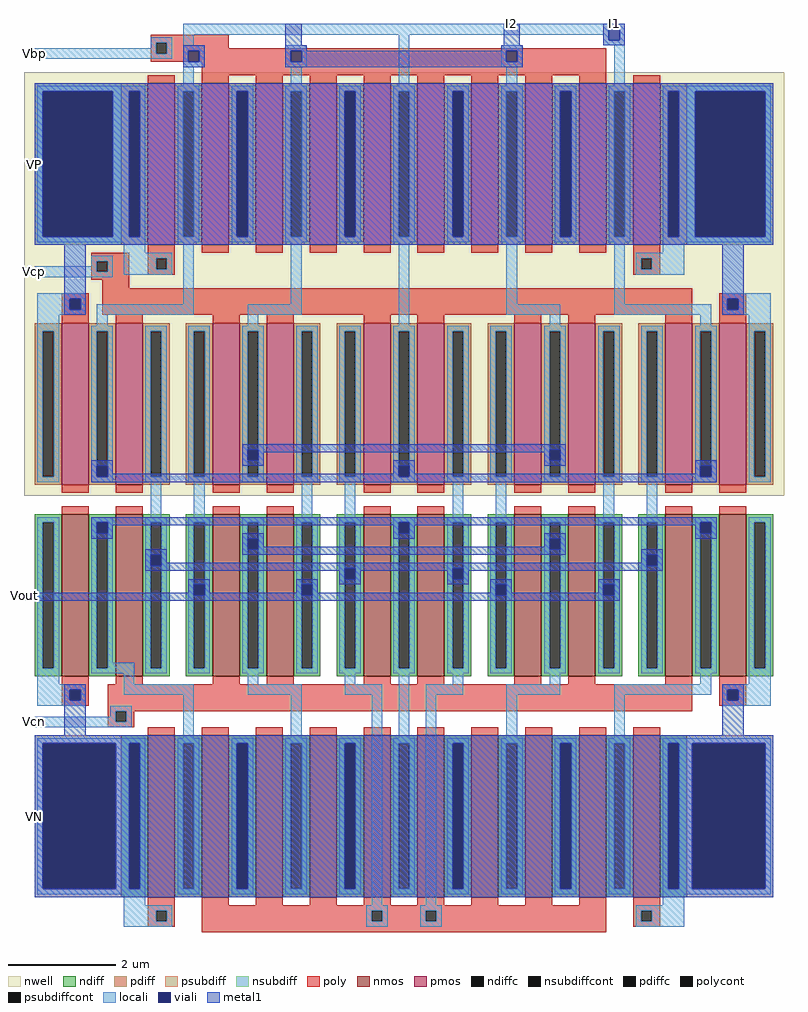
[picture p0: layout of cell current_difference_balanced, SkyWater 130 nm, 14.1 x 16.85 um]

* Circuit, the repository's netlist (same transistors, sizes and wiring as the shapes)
* SPICE3 file created from current_difference_balanced.ext - technology: sky130A

**.subckt current_difference_balanced I1 I2 Vout Vcn Vcp Vbp VP VN
X0 I1 Vcp a_300_80# VP sky130_fd_pr__pfet_01v8 ad=0.75 pd=3.5 as=1.5 ps=7 w=3 l=0.5
X1 I2 Vcp Vout VP sky130_fd_pr__pfet_01v8 ad=0.75 pd=3.5 as=1.5 ps=7 w=3 l=0.5
X2 I1 Vcp a_300_80# VP sky130_fd_pr__pfet_01v8 ad=0.75 pd=3.5 as=1.5 ps=7 w=3 l=0.5
X3 a_300_80# Vcn a_100_80# VN sky130_fd_pr__nfet_01v8 ad=1.5 pd=7 as=0.75 ps=3.5 w=3 l=0.5
X4 Vout Vcp I2 VP sky130_fd_pr__pfet_01v8 ad=1.5 pd=7 as=0.75 ps=3.5 w=3 l=0.5
X5 a_300_80# Vcp I1 VP sky130_fd_pr__pfet_01v8 ad=1.5 pd=7 as=0.75 ps=3.5 w=3 l=0.5
X6 VP Vbp I1 VP sky130_fd_pr__pfet_01v8 ad=0.75 pd=3.5 as=0.75 ps=3.5 w=3 l=0.5
X7 VP Vbp I2 VP sky130_fd_pr__pfet_01v8 ad=0.75 pd=3.5 as=0.75 ps=3.5 w=3 l=0.5
X8 VP Vbp I1 VP sky130_fd_pr__pfet_01v8 ad=0.75 pd=3.5 as=0.75 ps=3.5 w=3 l=0.5
X9 VN VN a_100_80# VN sky130_fd_pr__nfet_01v8 ad=1.5 pd=7 as=0.75 ps=3.5 w=3 l=0.5
X10 VP Vbp I2 VP sky130_fd_pr__pfet_01v8 ad=0.75 pd=3.5 as=0.75 ps=3.5 w=3 l=0.5
X11 a_660_80# Vcn Vout VN sky130_fd_pr__nfet_01v8 ad=0.75 pd=3.5 as=1.5 ps=7 w=3 l=0.5
X12 a_100_80# Vcn a_300_80# VN sky130_fd_pr__nfet_01v8 ad=0.75 pd=3.5 as=1.5 ps=7 w=3 l=0.5
X13 a_100_80# VN VN VN sky130_fd_pr__nfet_01v8 ad=0.75 pd=3.5 as=1.5 ps=7 w=3 l=0.5
X14 I1 VP VP VP sky130_fd_pr__pfet_01v8 ad=0.75 pd=3.5 as=1.5 ps=7 w=3 l=0.5
X15 VP VP I1 VP sky130_fd_pr__pfet_01v8 ad=1.5 pd=7 as=0.75 ps=3.5 w=3 l=0.5
X16 a_660_80# a_300_80# VN VN sky130_fd_pr__nfet_01v8 ad=0.75 pd=3.5 as=0.75 ps=3.5 w=3 l=0.5
X17 a_100_80# a_300_80# VN VN sky130_fd_pr__nfet_01v8 ad=0.75 pd=3.5 as=0.75 ps=3.5 w=3 l=0.5
X18 Vout Vcp I2 VP sky130_fd_pr__pfet_01v8 ad=1.5 pd=7 as=0.75 ps=3.5 w=3 l=0.5
X19 Vout Vcn a_660_80# VN sky130_fd_pr__nfet_01v8 ad=1.5 pd=7 as=0.75 ps=3.5 w=3 l=0.5
X20 a_660_80# a_300_80# VN VN sky130_fd_pr__nfet_01v8 ad=0.75 pd=3.5 as=0.75 ps=3.5 w=3 l=0.5
X21 a_300_80# Vcp I1 VP sky130_fd_pr__pfet_01v8 ad=1.5 pd=7 as=0.75 ps=3.5 w=3 l=0.5
X22 a_100_80# a_300_80# VN VN sky130_fd_pr__nfet_01v8 ad=0.75 pd=3.5 as=0.75 ps=3.5 w=3 l=0.5
X23 a_100_80# Vcn a_300_80# VN sky130_fd_pr__nfet_01v8 ad=0.75 pd=3.5 as=1.5 ps=7 w=3 l=0.5
X24 a_300_80# Vcn a_100_80# VN sky130_fd_pr__nfet_01v8 ad=1.5 pd=7 as=0.75 ps=3.5 w=3 l=0.5
X25 VP VP I1 VP sky130_fd_pr__pfet_01v8 ad=1.5 pd=7 as=0.75 ps=3.5 w=3 l=0.5
X26 I2 Vcp Vout VP sky130_fd_pr__pfet_01v8 ad=0.75 pd=3.5 as=1.5 ps=7 w=3 l=0.5
X27 I1 VP VP VP sky130_fd_pr__pfet_01v8 ad=0.75 pd=3.5 as=1.5 ps=7 w=3 l=0.5
X28 I2 Vbp VP VP sky130_fd_pr__pfet_01v8 ad=0.75 pd=3.5 as=0.75 ps=3.5 w=3 l=0.5
X29 I1 Vbp VP VP sky130_fd_pr__pfet_01v8 ad=0.75 pd=3.5 as=0.75 ps=3.5 w=3 l=0.5
X30 I2 Vbp VP VP sky130_fd_pr__pfet_01v8 ad=0.75 pd=3.5 as=0.75 ps=3.5 w=3 l=0.5
X31 I1 Vbp VP VP sky130_fd_pr__pfet_01v8 ad=0.75 pd=3.5 as=0.75 ps=3.5 w=3 l=0.5
X32 a_100_80# VN VN VN sky130_fd_pr__nfet_01v8 ad=0.75 pd=3.5 as=1.5 ps=7 w=3 l=0.5
X33 Vout Vcn a_660_80# VN sky130_fd_pr__nfet_01v8 ad=1.5 pd=7 as=0.75 ps=3.5 w=3 l=0.5
X34 VN VN a_100_80# VN sky130_fd_pr__nfet_01v8 ad=1.5 pd=7 as=0.75 ps=3.5 w=3 l=0.5
X35 VN a_300_80# a_100_80# VN sky130_fd_pr__nfet_01v8 ad=0.75 pd=3.5 as=0.75 ps=3.5 w=3 l=0.5
X36 a_660_80# Vcn Vout VN sky130_fd_pr__nfet_01v8 ad=0.75 pd=3.5 as=1.5 ps=7 w=3 l=0.5
X37 VN a_300_80# a_660_80# VN sky130_fd_pr__nfet_01v8 ad=0.75 pd=3.5 as=0.75 ps=3.5 w=3 l=0.5
X38 VN a_300_80# a_100_80# VN sky130_fd_pr__nfet_01v8 ad=0.75 pd=3.5 as=0.75 ps=3.5 w=3 l=0.5
X39 VN a_300_80# a_660_80# VN sky130_fd_pr__nfet_01v8 ad=0.75 pd=3.5 as=0.75 ps=3.5 w=3 l=0.5
**.ends

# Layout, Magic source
magic
tech sky130A
<< nwell >>
rect -70 375 1340 1160
<< nmos >>
rect 0 40 50 340
rect 100 40 150 340
rect 280 40 330 340
rect 380 40 430 340
rect 560 40 610 340
rect 660 40 710 340
rect 840 40 890 340
rect 940 40 990 340
rect 1120 40 1170 340
rect 1220 40 1270 340
rect 160 -370 210 -70
rect 260 -370 310 -70
rect 360 -370 410 -70
rect 460 -370 510 -70
rect 560 -370 610 -70
rect 660 -370 710 -70
rect 760 -370 810 -70
rect 860 -370 910 -70
rect 960 -370 1010 -70
rect 1060 -370 1110 -70
<< pmos >>
rect 160 840 210 1140
rect 260 840 310 1140
rect 360 840 410 1140
rect 460 840 510 1140
rect 560 840 610 1140
rect 660 840 710 1140
rect 760 840 810 1140
rect 860 840 910 1140
rect 960 840 1010 1140
rect 1060 840 1110 1140
rect 0 395 50 695
rect 100 395 150 695
rect 280 395 330 695
rect 380 395 430 695
rect 560 395 610 695
rect 660 395 710 695
rect 840 395 890 695
rect 940 395 990 695
rect 1120 395 1170 695
rect 1220 395 1270 695
<< ndiff >>
rect -50 325 0 340
rect -50 55 -35 325
rect -15 55 0 325
rect -50 40 0 55
rect 50 325 100 340
rect 50 55 65 325
rect 85 55 100 325
rect 50 40 100 55
rect 150 325 200 340
rect 150 55 165 325
rect 185 55 200 325
rect 150 40 200 55
rect 230 325 280 340
rect 230 55 245 325
rect 265 55 280 325
rect 230 40 280 55
rect 330 325 380 340
rect 330 55 345 325
rect 365 55 380 325
rect 330 40 380 55
rect 430 325 480 340
rect 430 55 445 325
rect 465 55 480 325
rect 430 40 480 55
rect 510 325 560 340
rect 510 55 525 325
rect 545 55 560 325
rect 510 40 560 55
rect 610 325 660 340
rect 610 55 625 325
rect 645 55 660 325
rect 610 40 660 55
rect 710 325 760 340
rect 710 55 725 325
rect 745 55 760 325
rect 710 40 760 55
rect 790 325 840 340
rect 790 55 805 325
rect 825 55 840 325
rect 790 40 840 55
rect 890 325 940 340
rect 890 55 905 325
rect 925 55 940 325
rect 890 40 940 55
rect 990 325 1040 340
rect 990 55 1005 325
rect 1025 55 1040 325
rect 990 40 1040 55
rect 1070 325 1120 340
rect 1070 55 1085 325
rect 1105 55 1120 325
rect 1070 40 1120 55
rect 1170 325 1220 340
rect 1170 55 1185 325
rect 1205 55 1220 325
rect 1170 40 1220 55
rect 1270 325 1320 340
rect 1270 55 1285 325
rect 1305 55 1320 325
rect 1270 40 1320 55
rect 110 -85 160 -70
rect 110 -355 125 -85
rect 145 -355 160 -85
rect 110 -370 160 -355
rect 210 -85 260 -70
rect 210 -355 225 -85
rect 245 -355 260 -85
rect 210 -370 260 -355
rect 310 -85 360 -70
rect 310 -355 325 -85
rect 345 -355 360 -85
rect 310 -370 360 -355
rect 410 -85 460 -70
rect 410 -355 425 -85
rect 445 -355 460 -85
rect 410 -370 460 -355
rect 510 -85 560 -70
rect 510 -355 525 -85
rect 545 -355 560 -85
rect 510 -370 560 -355
rect 610 -85 660 -70
rect 610 -355 625 -85
rect 645 -355 660 -85
rect 610 -370 660 -355
rect 710 -85 760 -70
rect 710 -355 725 -85
rect 745 -355 760 -85
rect 710 -370 760 -355
rect 810 -85 860 -70
rect 810 -355 825 -85
rect 845 -355 860 -85
rect 810 -370 860 -355
rect 910 -85 960 -70
rect 910 -355 925 -85
rect 945 -355 960 -85
rect 910 -370 960 -355
rect 1010 -85 1060 -70
rect 1010 -355 1025 -85
rect 1045 -355 1060 -85
rect 1010 -370 1060 -355
rect 1110 -85 1160 -70
rect 1110 -355 1125 -85
rect 1145 -355 1160 -85
rect 1110 -370 1160 -355
<< pdiff >>
rect 110 1125 160 1140
rect 110 855 125 1125
rect 145 855 160 1125
rect 110 840 160 855
rect 210 1125 260 1140
rect 210 855 225 1125
rect 245 855 260 1125
rect 210 840 260 855
rect 310 1125 360 1140
rect 310 855 325 1125
rect 345 855 360 1125
rect 310 840 360 855
rect 410 1125 460 1140
rect 410 855 425 1125
rect 445 855 460 1125
rect 410 840 460 855
rect 510 1125 560 1140
rect 510 855 525 1125
rect 545 855 560 1125
rect 510 840 560 855
rect 610 1125 660 1140
rect 610 855 625 1125
rect 645 855 660 1125
rect 610 840 660 855
rect 710 1125 760 1140
rect 710 855 725 1125
rect 745 855 760 1125
rect 710 840 760 855
rect 810 1125 860 1140
rect 810 855 825 1125
rect 845 855 860 1125
rect 810 840 860 855
rect 910 1125 960 1140
rect 910 855 925 1125
rect 945 855 960 1125
rect 910 840 960 855
rect 1010 1125 1060 1140
rect 1010 855 1025 1125
rect 1045 855 1060 1125
rect 1010 840 1060 855
rect 1110 1125 1160 1140
rect 1110 855 1125 1125
rect 1145 855 1160 1125
rect 1110 840 1160 855
rect -50 680 0 695
rect -50 410 -35 680
rect -15 410 0 680
rect -50 395 0 410
rect 50 680 100 695
rect 50 410 65 680
rect 85 410 100 680
rect 50 395 100 410
rect 150 680 200 695
rect 150 410 165 680
rect 185 410 200 680
rect 150 395 200 410
rect 230 680 280 695
rect 230 410 245 680
rect 265 410 280 680
rect 230 395 280 410
rect 330 680 380 695
rect 330 410 345 680
rect 365 410 380 680
rect 330 395 380 410
rect 430 680 480 695
rect 430 410 445 680
rect 465 410 480 680
rect 430 395 480 410
rect 510 680 560 695
rect 510 410 525 680
rect 545 410 560 680
rect 510 395 560 410
rect 610 680 660 695
rect 610 410 625 680
rect 645 410 660 680
rect 610 395 660 410
rect 710 680 760 695
rect 710 410 725 680
rect 745 410 760 680
rect 710 395 760 410
rect 790 680 840 695
rect 790 410 805 680
rect 825 410 840 680
rect 790 395 840 410
rect 890 680 940 695
rect 890 410 905 680
rect 925 410 940 680
rect 890 395 940 410
rect 990 680 1040 695
rect 990 410 1005 680
rect 1025 410 1040 680
rect 990 395 1040 410
rect 1070 680 1120 695
rect 1070 410 1085 680
rect 1105 410 1120 680
rect 1070 395 1120 410
rect 1170 680 1220 695
rect 1170 410 1185 680
rect 1205 410 1220 680
rect 1170 395 1220 410
rect 1270 680 1320 695
rect 1270 410 1285 680
rect 1305 410 1320 680
rect 1270 395 1320 410
<< ndiffc >>
rect -35 55 -15 325
rect 65 55 85 325
rect 165 55 185 325
rect 245 55 265 325
rect 345 55 365 325
rect 445 55 465 325
rect 525 55 545 325
rect 625 55 645 325
rect 725 55 745 325
rect 805 55 825 325
rect 905 55 925 325
rect 1005 55 1025 325
rect 1085 55 1105 325
rect 1185 55 1205 325
rect 1285 55 1305 325
rect 125 -355 145 -85
rect 225 -355 245 -85
rect 325 -355 345 -85
rect 425 -355 445 -85
rect 525 -355 545 -85
rect 625 -355 645 -85
rect 725 -355 745 -85
rect 825 -355 845 -85
rect 925 -355 945 -85
rect 1025 -355 1045 -85
rect 1125 -355 1145 -85
<< pdiffc >>
rect 125 855 145 1125
rect 225 855 245 1125
rect 325 855 345 1125
rect 425 855 445 1125
rect 525 855 545 1125
rect 625 855 645 1125
rect 725 855 745 1125
rect 825 855 845 1125
rect 925 855 945 1125
rect 1025 855 1045 1125
rect 1125 855 1145 1125
rect -35 410 -15 680
rect 65 410 85 680
rect 165 410 185 680
rect 245 410 265 680
rect 345 410 365 680
rect 445 410 465 680
rect 525 410 545 680
rect 625 410 645 680
rect 725 410 745 680
rect 805 410 825 680
rect 905 410 925 680
rect 1005 410 1025 680
rect 1085 410 1105 680
rect 1185 410 1205 680
rect 1285 410 1305 680
<< psubdiff >>
rect -50 -85 110 -70
rect -50 -355 -35 -85
rect 100 -355 110 -85
rect -50 -370 110 -355
rect 1160 -85 1320 -70
rect 1160 -355 1170 -85
rect 1305 -355 1320 -85
rect 1160 -370 1320 -355
<< nsubdiff >>
rect -50 1125 110 1140
rect -50 855 -35 1125
rect 95 855 110 1125
rect -50 840 110 855
rect 1160 1125 1320 1140
rect 1160 855 1175 1125
rect 1305 855 1320 1125
rect 1160 840 1320 855
<< psubdiffcont >>
rect -35 -355 100 -85
rect 1170 -355 1305 -85
<< nsubdiffcont >>
rect -35 855 95 1125
rect 1175 855 1305 1125
<< poly >>
rect 165 1215 310 1230
rect 165 1195 175 1215
rect 195 1205 310 1215
rect 195 1195 1010 1205
rect 165 1180 1010 1195
rect 260 1155 1010 1180
rect 160 1140 210 1155
rect 260 1140 310 1155
rect 360 1140 410 1155
rect 460 1140 510 1155
rect 560 1140 610 1155
rect 660 1140 710 1155
rect 760 1140 810 1155
rect 860 1140 910 1155
rect 960 1140 1010 1155
rect 1060 1140 1110 1155
rect 55 810 125 825
rect 55 790 65 810
rect 85 790 125 810
rect 55 775 125 790
rect 160 815 210 840
rect 260 825 310 840
rect 360 825 410 840
rect 460 825 510 840
rect 560 825 610 840
rect 660 825 710 840
rect 760 825 810 840
rect 860 825 910 840
rect 960 825 1010 840
rect 160 795 175 815
rect 195 795 210 815
rect 160 785 210 795
rect 1060 815 1110 840
rect 1060 795 1075 815
rect 1095 795 1110 815
rect 1060 785 1110 795
rect 75 760 125 775
rect 0 740 50 750
rect 0 720 15 740
rect 35 720 50 740
rect 0 695 50 720
rect 75 710 1170 760
rect 100 695 150 710
rect 280 695 330 710
rect 380 695 430 710
rect 560 695 610 710
rect 660 695 710 710
rect 840 695 890 710
rect 940 695 990 710
rect 1120 695 1170 710
rect 1220 740 1270 750
rect 1220 720 1235 740
rect 1255 720 1270 740
rect 1220 695 1270 720
rect 0 380 50 395
rect 100 380 150 395
rect 280 380 330 395
rect 380 380 430 395
rect 560 380 610 395
rect 660 380 710 395
rect 840 380 890 395
rect 940 380 990 395
rect 1120 380 1170 395
rect 1220 380 1270 395
rect 0 340 50 355
rect 100 340 150 355
rect 280 340 330 355
rect 380 340 430 355
rect 560 340 610 355
rect 660 340 710 355
rect 840 340 890 355
rect 940 340 990 355
rect 1120 340 1170 355
rect 1220 340 1270 355
rect 0 15 50 40
rect 100 25 150 40
rect 280 25 330 40
rect 380 25 430 40
rect 560 25 610 40
rect 660 25 710 40
rect 840 25 890 40
rect 940 25 990 40
rect 1120 25 1170 40
rect 0 -5 15 15
rect 35 -5 50 15
rect 0 -15 50 -5
rect 85 -25 1170 25
rect 1220 15 1270 40
rect 1220 -5 1235 15
rect 1255 -5 1270 15
rect 1220 -15 1270 -5
rect 85 -45 100 -25
rect 120 -45 135 -25
rect 85 -55 135 -45
rect 160 -70 210 -55
rect 260 -70 310 -55
rect 360 -70 410 -55
rect 460 -70 510 -55
rect 560 -70 610 -55
rect 660 -70 710 -55
rect 760 -70 810 -55
rect 860 -70 910 -55
rect 960 -70 1010 -55
rect 1060 -70 1110 -55
rect 160 -395 210 -370
rect 160 -415 175 -395
rect 195 -415 210 -395
rect 160 -425 210 -415
rect 260 -385 310 -370
rect 360 -385 410 -370
rect 460 -385 510 -370
rect 560 -385 610 -370
rect 660 -385 710 -370
rect 760 -385 810 -370
rect 860 -385 910 -370
rect 960 -385 1010 -370
rect 260 -395 1010 -385
rect 260 -415 575 -395
rect 595 -415 675 -395
rect 695 -415 1010 -395
rect 260 -435 1010 -415
rect 1060 -395 1110 -370
rect 1060 -415 1075 -395
rect 1095 -415 1110 -395
rect 1060 -425 1110 -415
<< polycont >>
rect 175 1195 195 1215
rect 65 790 85 810
rect 175 795 195 815
rect 1075 795 1095 815
rect 15 720 35 740
rect 1235 720 1255 740
rect 15 -5 35 15
rect 1235 -5 1255 15
rect 100 -45 120 -25
rect 175 -415 195 -395
rect 575 -415 595 -395
rect 675 -415 695 -395
rect 1075 -415 1095 -395
<< locali >>
rect 225 1240 1045 1250
rect 225 1230 1015 1240
rect 165 1215 205 1225
rect 165 1205 175 1215
rect -50 1195 175 1205
rect 195 1195 205 1215
rect -50 1185 205 1195
rect 225 1210 245 1230
rect 225 1200 265 1210
rect 225 1180 235 1200
rect 255 1180 265 1200
rect 225 1170 265 1180
rect 415 1200 455 1210
rect 415 1180 425 1200
rect 445 1180 455 1200
rect 415 1170 455 1180
rect 225 1135 245 1170
rect 425 1135 445 1170
rect 625 1135 645 1230
rect 1005 1220 1015 1230
rect 1035 1220 1045 1240
rect 1005 1210 1045 1220
rect 815 1200 855 1210
rect 815 1180 825 1200
rect 845 1180 855 1200
rect 815 1170 855 1180
rect 825 1135 845 1170
rect 1025 1135 1045 1210
rect -45 1125 155 1135
rect -45 855 -35 1125
rect 95 855 125 1125
rect 145 855 155 1125
rect -45 845 155 855
rect 215 1125 255 1135
rect 215 855 225 1125
rect 245 855 255 1125
rect 215 845 255 855
rect 315 1125 355 1135
rect 315 855 325 1125
rect 345 855 355 1125
rect 315 845 355 855
rect 415 1125 455 1135
rect 415 855 425 1125
rect 445 855 455 1125
rect 415 845 455 855
rect 515 1125 555 1135
rect 515 855 525 1125
rect 545 855 555 1125
rect 515 845 555 855
rect 615 1125 655 1135
rect 615 855 625 1125
rect 645 855 655 1125
rect 615 845 655 855
rect 715 1125 755 1135
rect 715 855 725 1125
rect 745 855 755 1125
rect 715 845 755 855
rect 815 1125 855 1135
rect 815 855 825 1125
rect 845 855 855 1125
rect 815 845 855 855
rect 915 1125 955 1135
rect 915 855 925 1125
rect 945 855 955 1125
rect 915 845 955 855
rect 1015 1125 1055 1135
rect 1015 855 1025 1125
rect 1045 855 1055 1125
rect 1015 845 1055 855
rect 1115 1125 1315 1135
rect 1115 855 1125 1125
rect 1145 855 1175 1125
rect 1305 855 1315 1125
rect 1115 845 1315 855
rect 115 825 155 845
rect 55 810 95 820
rect 55 800 65 810
rect -50 790 65 800
rect 85 790 95 810
rect -50 780 95 790
rect 115 815 205 825
rect 115 795 175 815
rect 195 795 205 815
rect 115 785 205 795
rect -45 740 45 750
rect -45 720 15 740
rect 35 720 45 740
rect 225 730 245 845
rect 425 730 445 845
rect -45 710 45 720
rect 65 710 245 730
rect 345 710 445 730
rect -45 680 -5 710
rect 65 690 85 710
rect 345 690 365 710
rect 625 690 645 845
rect 825 730 845 845
rect 1025 730 1045 845
rect 1115 825 1155 845
rect 1065 815 1155 825
rect 1065 795 1075 815
rect 1095 795 1155 815
rect 1065 785 1155 795
rect 1225 740 1315 750
rect 825 710 925 730
rect 1025 710 1205 730
rect 1225 720 1235 740
rect 1255 720 1315 740
rect 1225 710 1315 720
rect 905 690 925 710
rect 1185 690 1205 710
rect -45 410 -35 680
rect -15 410 -5 680
rect -45 400 -5 410
rect 55 680 95 690
rect 55 410 65 680
rect 85 410 95 680
rect 55 400 95 410
rect 155 680 195 690
rect 155 410 165 680
rect 185 410 195 680
rect 155 400 195 410
rect 235 680 275 690
rect 235 410 245 680
rect 265 410 275 680
rect 235 400 275 410
rect 335 680 375 690
rect 335 410 345 680
rect 365 410 375 680
rect 335 400 375 410
rect 435 680 475 690
rect 435 410 445 680
rect 465 410 475 680
rect 435 400 475 410
rect 515 680 555 690
rect 515 410 525 680
rect 545 410 555 680
rect 515 400 555 410
rect 615 680 655 690
rect 615 410 625 680
rect 645 410 655 680
rect 615 400 655 410
rect 715 680 755 690
rect 715 410 725 680
rect 745 410 755 680
rect 715 400 755 410
rect 795 680 835 690
rect 795 410 805 680
rect 825 410 835 680
rect 795 400 835 410
rect 895 680 935 690
rect 895 410 905 680
rect 925 410 935 680
rect 895 400 935 410
rect 995 680 1035 690
rect 995 410 1005 680
rect 1025 410 1035 680
rect 995 400 1035 410
rect 1075 680 1115 690
rect 1075 410 1085 680
rect 1105 410 1115 680
rect 1075 400 1115 410
rect 1175 680 1215 690
rect 1175 410 1185 680
rect 1205 410 1215 680
rect 1175 400 1215 410
rect 1275 680 1315 710
rect 1275 410 1285 680
rect 1305 410 1315 680
rect 1275 400 1315 410
rect 165 335 185 400
rect 245 335 265 400
rect 445 335 465 400
rect 525 335 545 400
rect 725 335 745 400
rect 805 335 825 400
rect 1005 335 1025 400
rect 1085 335 1105 400
rect -45 325 -5 335
rect -45 55 -35 325
rect -15 55 -5 325
rect -45 25 -5 55
rect 55 325 95 335
rect 55 55 65 325
rect 85 65 95 325
rect 155 325 195 335
rect 85 55 135 65
rect 55 45 135 55
rect 155 55 165 325
rect 185 55 195 325
rect 155 45 195 55
rect 235 325 275 335
rect 235 55 245 325
rect 265 55 275 325
rect 235 45 275 55
rect 335 325 375 335
rect 335 55 345 325
rect 365 55 375 325
rect 335 45 375 55
rect 435 325 475 335
rect 435 55 445 325
rect 465 55 475 325
rect 435 45 475 55
rect 515 325 555 335
rect 515 55 525 325
rect 545 55 555 325
rect 515 45 555 55
rect 615 325 655 335
rect 615 55 625 325
rect 645 55 655 325
rect 615 45 655 55
rect 715 325 755 335
rect 715 55 725 325
rect 745 55 755 325
rect 715 45 755 55
rect 795 325 835 335
rect 795 55 805 325
rect 825 55 835 325
rect 795 45 835 55
rect 895 325 935 335
rect 895 55 905 325
rect 925 55 935 325
rect 895 45 935 55
rect 995 325 1035 335
rect 995 55 1005 325
rect 1025 55 1035 325
rect 995 45 1035 55
rect 1075 325 1115 335
rect 1075 55 1085 325
rect 1105 55 1115 325
rect 1075 45 1115 55
rect 1175 325 1215 335
rect 1175 55 1185 325
rect 1205 55 1215 325
rect 1175 45 1215 55
rect 1275 325 1315 335
rect 1275 55 1285 325
rect 1305 55 1315 325
rect 115 25 135 45
rect 345 25 365 45
rect 525 25 545 45
rect -45 15 45 25
rect -45 -5 15 15
rect 35 -5 45 15
rect 115 5 245 25
rect 345 5 445 25
rect 525 5 595 25
rect -45 -15 45 -5
rect 90 -25 130 -15
rect 90 -35 100 -25
rect -50 -45 100 -35
rect 120 -45 130 -25
rect -50 -55 130 -45
rect 225 -75 245 5
rect 425 -75 445 5
rect -45 -85 155 -75
rect -45 -355 -35 -85
rect 100 -355 125 -85
rect 145 -355 155 -85
rect -45 -365 155 -355
rect 215 -85 255 -75
rect 215 -355 225 -85
rect 245 -355 255 -85
rect 215 -365 255 -355
rect 315 -85 355 -75
rect 315 -355 325 -85
rect 345 -355 355 -85
rect 315 -365 355 -355
rect 415 -85 455 -75
rect 415 -355 425 -85
rect 445 -355 455 -85
rect 415 -365 455 -355
rect 515 -85 555 -75
rect 515 -355 525 -85
rect 545 -355 555 -85
rect 515 -365 555 -355
rect 115 -385 155 -365
rect 575 -385 595 5
rect 625 -75 645 45
rect 725 25 745 45
rect 905 25 925 45
rect 1185 25 1205 45
rect 1275 25 1315 55
rect 675 5 745 25
rect 825 5 925 25
rect 1025 5 1205 25
rect 1225 15 1315 25
rect 615 -85 655 -75
rect 615 -355 625 -85
rect 645 -355 655 -85
rect 615 -365 655 -355
rect 675 -385 695 5
rect 825 -75 845 5
rect 1025 -75 1045 5
rect 1225 -5 1235 15
rect 1255 -5 1315 15
rect 1225 -15 1315 -5
rect 715 -85 755 -75
rect 715 -355 725 -85
rect 745 -355 755 -85
rect 715 -365 755 -355
rect 815 -85 855 -75
rect 815 -355 825 -85
rect 845 -355 855 -85
rect 815 -365 855 -355
rect 915 -85 955 -75
rect 915 -355 925 -85
rect 945 -355 955 -85
rect 915 -365 955 -355
rect 1015 -85 1055 -75
rect 1015 -355 1025 -85
rect 1045 -355 1055 -85
rect 1015 -365 1055 -355
rect 1115 -85 1315 -75
rect 1115 -355 1125 -85
rect 1145 -355 1170 -85
rect 1305 -355 1315 -85
rect 1115 -365 1315 -355
rect 1115 -385 1155 -365
rect 115 -395 205 -385
rect 115 -415 175 -395
rect 195 -415 205 -395
rect 115 -425 205 -415
rect 565 -395 605 -385
rect 565 -415 575 -395
rect 595 -415 605 -395
rect 565 -425 605 -415
rect 665 -395 705 -385
rect 665 -415 675 -395
rect 695 -415 705 -395
rect 665 -425 705 -415
rect 1065 -395 1155 -385
rect 1065 -415 1075 -395
rect 1095 -415 1155 -395
rect 1065 -425 1155 -415
<< viali >>
rect 235 1180 255 1200
rect 425 1180 445 1200
rect 1015 1220 1035 1240
rect 825 1180 845 1200
rect -35 855 95 1125
rect 125 855 145 1125
rect 325 855 345 1125
rect 525 855 545 1125
rect 725 855 745 1125
rect 925 855 945 1125
rect 1125 855 1145 1125
rect 1175 855 1305 1125
rect 15 720 35 740
rect 1235 720 1255 740
rect 65 410 85 430
rect 345 440 365 460
rect 625 410 645 430
rect 905 440 925 460
rect 1185 410 1205 430
rect 65 305 85 325
rect 165 245 185 265
rect 245 190 265 210
rect 345 275 365 295
rect 445 190 465 210
rect 525 220 545 240
rect 625 305 645 325
rect 725 220 745 240
rect 805 190 825 210
rect 905 275 925 295
rect 1005 190 1025 210
rect 1085 245 1105 265
rect 1185 305 1205 325
rect 15 -5 35 15
rect -35 -355 100 -85
rect 125 -355 145 -85
rect 325 -355 345 -85
rect 525 -355 545 -85
rect 1235 -5 1255 15
rect 725 -355 745 -85
rect 925 -355 945 -85
rect 1125 -355 1145 -85
rect 1170 -355 1305 -85
<< metal1 >>
rect 415 1210 445 1250
rect 820 1210 850 1250
rect 1005 1240 1045 1250
rect 1005 1220 1015 1240
rect 1035 1220 1045 1240
rect 1005 1210 1045 1220
rect 225 1200 265 1210
rect 225 1180 235 1200
rect 255 1180 265 1200
rect 225 1170 265 1180
rect 415 1200 455 1210
rect 815 1200 855 1210
rect 415 1180 425 1200
rect 445 1180 825 1200
rect 845 1180 855 1200
rect 415 1170 855 1180
rect -50 1125 1320 1140
rect -50 855 -35 1125
rect 95 855 125 1125
rect 145 855 325 1125
rect 345 855 525 1125
rect 545 855 725 1125
rect 745 855 925 1125
rect 945 855 1125 1125
rect 1145 855 1175 1125
rect 1305 855 1320 1125
rect -50 840 1320 855
rect 5 740 45 840
rect 5 720 15 740
rect 35 720 45 740
rect 5 710 45 720
rect 1225 740 1265 840
rect 1225 720 1235 740
rect 1255 720 1265 740
rect 1225 710 1265 720
rect 335 460 935 470
rect 335 440 345 460
rect 365 455 905 460
rect 365 440 375 455
rect 895 440 905 455
rect 925 440 935 460
rect 55 430 95 440
rect 335 430 375 440
rect 615 430 655 440
rect 895 430 935 440
rect 1175 430 1215 440
rect 55 410 65 430
rect 85 415 95 430
rect 615 415 625 430
rect 85 410 625 415
rect 645 415 655 430
rect 1175 415 1185 430
rect 645 410 1185 415
rect 1205 410 1215 430
rect 55 400 1215 410
rect 55 325 1215 335
rect 55 305 65 325
rect 85 320 625 325
rect 85 305 95 320
rect 615 305 625 320
rect 645 320 1185 325
rect 645 305 655 320
rect 1175 305 1185 320
rect 1205 305 1215 325
rect 55 295 95 305
rect 335 295 375 305
rect 615 295 655 305
rect 895 295 935 305
rect 1175 295 1215 305
rect 335 275 345 295
rect 365 280 375 295
rect 895 280 905 295
rect 365 275 905 280
rect 925 275 935 295
rect 155 265 195 275
rect 335 265 935 275
rect 1075 265 1115 275
rect 155 245 165 265
rect 185 250 195 265
rect 1075 250 1085 265
rect 185 245 1085 250
rect 1105 245 1115 265
rect 155 240 1115 245
rect 155 235 525 240
rect 515 220 525 235
rect 545 235 725 240
rect 545 220 555 235
rect 235 210 275 220
rect 235 195 245 210
rect -70 190 245 195
rect 265 195 275 210
rect 435 210 475 220
rect 515 210 555 220
rect 715 220 725 235
rect 745 235 1115 240
rect 745 220 755 235
rect 715 210 755 220
rect 795 210 835 220
rect 435 195 445 210
rect 265 190 445 195
rect 465 195 475 210
rect 795 195 805 210
rect 465 190 805 195
rect 825 195 835 210
rect 995 210 1035 220
rect 995 195 1005 210
rect 825 190 1005 195
rect 1025 190 1035 210
rect -70 180 1035 190
rect 5 15 45 25
rect 5 -5 15 15
rect 35 -5 45 15
rect 5 -70 45 -5
rect 1225 15 1265 25
rect 1225 -5 1235 15
rect 1255 -5 1265 15
rect 1225 -70 1265 -5
rect -50 -85 1320 -70
rect -50 -355 -35 -85
rect 100 -355 125 -85
rect 145 -355 325 -85
rect 345 -355 525 -85
rect 545 -355 725 -85
rect 745 -355 925 -85
rect 945 -355 1125 -85
rect 1145 -355 1170 -85
rect 1305 -355 1320 -85
rect -50 -370 1320 -355
<< labels >>
flabel locali -50 -45 -50 -45 7 FreeSans 160 0 0 0 Vcn
port 5 w
flabel metal1 -50 -220 -50 -220 7 FreeSans 160 0 0 0 VN
port 9 w
flabel locali -50 790 -50 790 7 FreeSans 160 0 0 0 Vcp
port 6 w
flabel metal1 -50 990 -50 990 7 FreeSans 160 0 0 0 VP
port 8 w
flabel locali -50 1195 -50 1195 7 FreeSans 160 0 0 0 Vbp
port 7 w
flabel metal1 -70 190 -70 190 7 FreeSans 160 0 0 0 Vout
port 3 w
flabel metal1 1025 1250 1025 1250 1 FreeSans 240 0 0 0 I1
port 1 n
flabel metal1 835 1250 835 1250 1 FreeSans 240 0 0 0 I2
port 2 n
<< end >>
